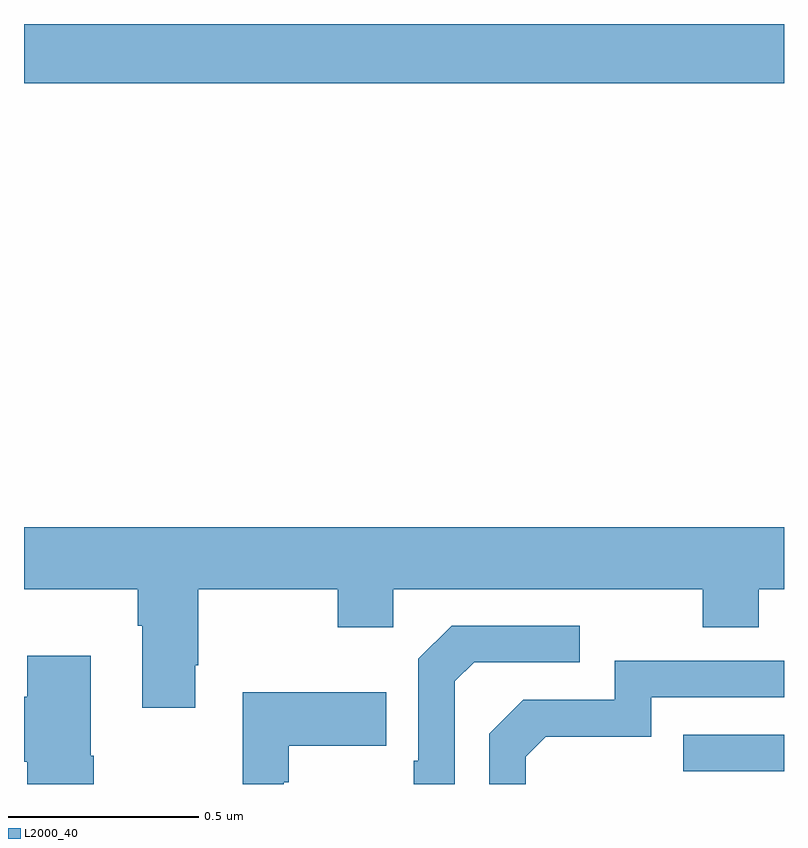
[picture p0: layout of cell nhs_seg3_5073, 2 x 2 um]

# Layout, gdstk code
import gdstk
lib = gdstk.Library(unit=1e-6, precision=1e-09)
def R(c, l, rs):  # rectangles x0, y0, x1, y1
    for r in rs: c.add(gdstk.rectangle(r[:2], r[2:], *l))
def P(c, l, *ps):  # polygons
    for p in ps: c.add(gdstk.Polygon(p, *l))
L2000_40 = (2000, 40)

nhs_seg3_5073 = lib.new_cell('nhs_seg3_5073')
R(nhs_seg3_5073, L2000_40, [(175.735,704.433,176,704.529), (174,706.244,176,706.4)])
P(nhs_seg3_5073, L2000_40, [(174.451,704.713),(174.459,704.713),(174.459,704.912),(174.826,704.912),(174.826,704.813),(174.972,704.813),(174.972,704.912),(175.786,704.912),(175.786,704.813),(175.933,704.813),(175.933,704.912),(176,704.912),(176,705.076),(174,705.076),(174,704.912),(174.299,704.912),(174.299,704.816),(174.311,704.816),(174.311,704.601),(174.451,704.601)],
  [(175.134,704.67),(175.185,704.721),(175.462,704.721),(175.462,704.817),(175.125,704.817),(175.038,704.73),(175.038,704.461),(175.026,704.461),(175.026,704.4),(175.134,704.4)],
  [(174.183,704.475),(174.175,704.475),(174.175,704.737),(174.008,704.737),(174.008,704.629),(174,704.629),(174,704.459),(174.008,704.459),(174.008,704.4),(174.183,704.4)],
  [(175.32,704.472),(175.373,704.525),(175.65,704.525),(175.65,704.628),(176,704.628),(176,704.724),(175.554,704.724),(175.554,704.622),(175.314,704.622),(175.224,704.532),(175.224,704.4),(175.32,704.4)],
  [(174.684,704.405),(174.697,704.405),(174.697,704.501),(174.953,704.501),(174.953,704.641),(174.576,704.641),(174.576,704.4),(174.684,704.4)])

lib.write_gds('nhs_seg3_5073.gds')
